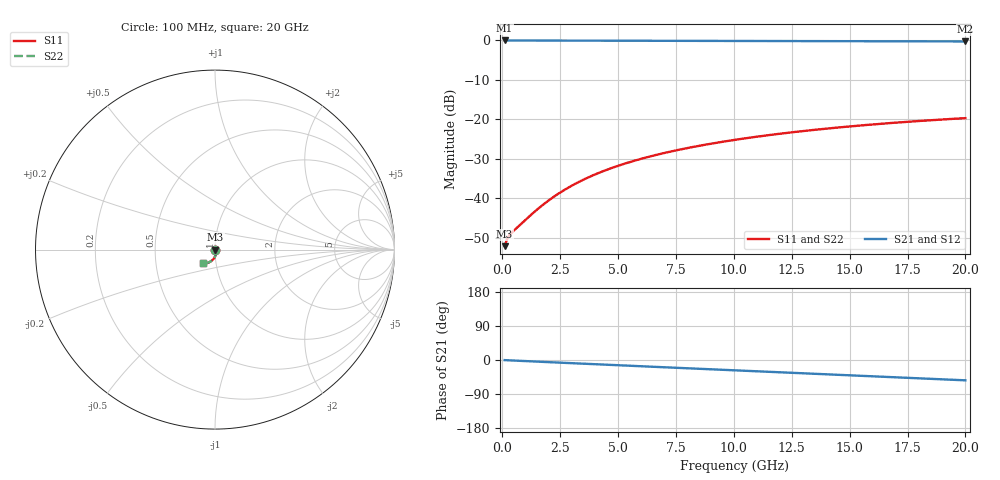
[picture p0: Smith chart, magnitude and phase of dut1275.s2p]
! Touchstone file exported from HFSS 2026.1.0
!  File:  C:/ffzhzh/LocalFiles/Ansys_Project_Files/temp_train_BSMRDL_1275_1783177747_51560.aedt
!  Generated:  11:10:34 PM Jul  4, 2026
!  Design:  BSMRDL
!  Project:  temp_train_BSMRDL_1275_1783177747_51560
! Variables:
!  h_bsmrdl = 5.96um
!  h_ox = 20um
!  h_rdl = 5um
!  h_sub = 80um
!  h_tmrdl = 5um
!  h_tsv = 80um
!  h_via = 3um
!  l_bsmrdl = 965.26um
!  l_sub = 1365.26um
!  l_tmrdl = 200um
!  m_sub = 200um
!  pitch = 34.61um
!  r_tsv = 6um
!  s_tmrdl = 10um
!  w_bsmrdl = 29.94um
!  w_sub = 500um
!  w_tmrdl = 12um
!  x_tsv_center1 = 206um
!  x_tsv_center2 = 1201.2um
!  x_tsv_center3 = 1413.2um
!  x_tsv_center4 = 2408.4um
!  x_tsv_center5 = 2620.4um
!  x_tsv_center6 = 3615.6um
# GHz S MA R 50.000000
! Terminal data exported
! Port[1] = BSM_RDL1_1_T1
! Port[2] = BSM_RDL1_1_T2
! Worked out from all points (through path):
!   200 points, 100 MHz to 20 GHz, reference 50 ohm
!   highest |S21| = -0.02 dB at 100 MHz (marker M1); lowest = -0.3 dB at 20 GHz (marker M2)
!   group delay of S21, straight-line fit = 7.42 ps
!   lowest |S11| = -52.2 dB at 100 MHz (marker M3), VSWR 1.00, Z = 50.2 + j0.0409 ohm
!   |S11| at or under -10 dB: start of sweep to end of sweep
!   |S22| runs from -52.2 to -19.7 dB; largest |S21 - S12| = 2.4e-13
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0.1  0.002459 9.5  0.9976 -0.3  0.9976 -0.3  0.002459 9.5
! Gamma 0 0 0 0
! Port Impedance 50 0 50 0
0.2  0.003003 4.3  0.997 -0.6  0.997 -0.6  0.003003 4.3
0.3  0.003361 -3.4  0.9966 -0.9  0.9966 -0.9  0.003361 -3.4
0.4  0.003632 -10.4  0.9964 -1.2  0.9964 -1.2  0.003631 -10.4
1.1  0.005636 -39.7  0.9955 -3.1  0.9955 -3.1  0.005634 -39.7
1.5  0.007148 -48.3  0.9948 -4.3  0.9948 -4.3  0.007144 -48.3
2  0.009335 -55.6  0.994 -5.7  0.994 -5.7  0.009329 -55.7
2.5  0.01177 -61.0  0.993 -7.0  0.993 -7.0  0.01176 -61.1
3  0.01438 -65.5  0.9921 -8.4  0.9921 -8.4  0.01437 -65.5
3.5  0.01711 -69.3  0.9912 -9.8  0.9912 -9.8  0.0171 -69.4
4.2  0.02107 -74.0  0.99 -11.7  0.99 -11.7  0.02105 -74.1
5  0.02569 -78.7  0.9887 -13.8  0.9887 -13.8  0.02566 -78.8
5.9  0.03094 -83.3  0.9874 -16.2  0.9874 -16.2  0.03091 -83.4
6.8  0.0362 -87.6  0.9861 -18.6  0.9861 -18.6  0.03615 -87.7
7.5  0.04027 -90.6  0.9852 -20.5  0.9852 -20.5  0.04022 -90.7
8.3  0.04489 -93.8  0.9842 -22.7  0.9842 -22.7  0.04484 -94.0
10.1  0.05513 -100.6  0.9819 -27.5  0.9819 -27.5  0.05505 -100.8
11.7  0.06395 -106.1  0.9799 -31.7  0.9799 -31.7  0.06385 -106.3
13.4  0.07297 -111.7  0.9778 -36.2  0.9778 -36.2  0.07286 -111.9
15  0.08107 -116.8  0.9757 -40.5  0.9757 -40.5  0.08093 -117.0
16.7  0.08919 -121.9  0.9736 -45.0  0.9736 -45.0  0.08903 -122.2
20  0.1033 -131.7  0.9695 -53.6  0.9695 -53.6  0.1031 -132.0
